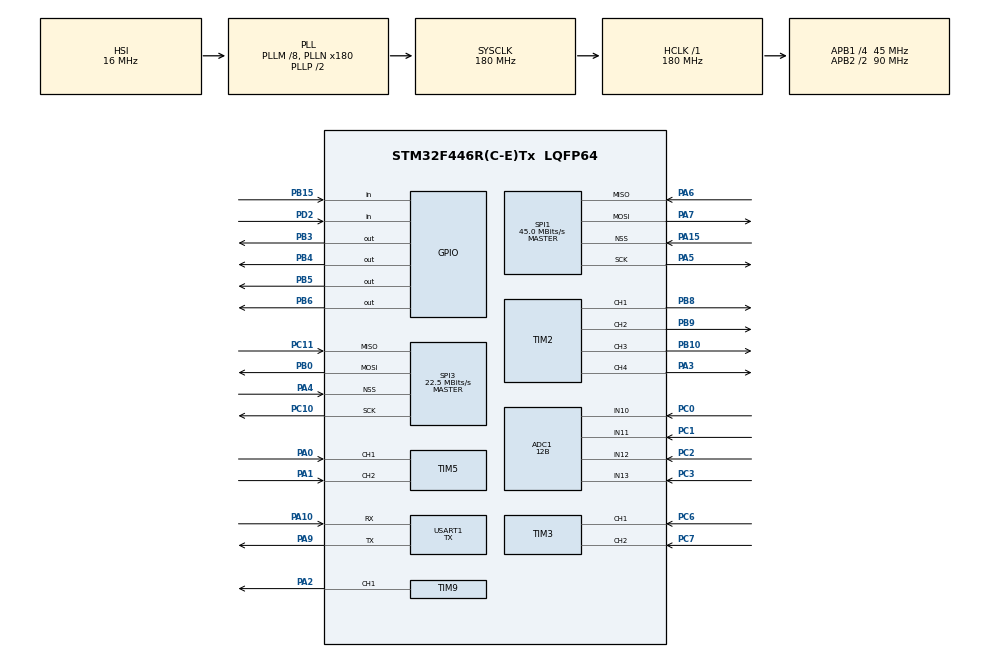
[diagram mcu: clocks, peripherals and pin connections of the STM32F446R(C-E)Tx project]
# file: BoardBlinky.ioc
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ADC1.Channel-0\#ChannelRegularConversion=ADC_CHANNEL_10
ADC1.Channel-1\#ChannelRegularConversion=ADC_CHANNEL_11
ADC1.Channel-2\#ChannelRegularConversion=ADC_CHANNEL_12
ADC1.Channel-3\#ChannelRegularConversion=ADC_CHANNEL_13
ADC1.ClockPrescaler=ADC_CLOCK_SYNC_PCLK_DIV4
ADC1.ContinuousConvMode=ENABLE
ADC1.DMAContinuousRequests=ENABLE
ADC1.DataAlign=ADC_DATAALIGN_RIGHT
ADC1.DiscontinuousConvMode=DISABLE
ADC1.EOCSelection=ADC_EOC_SINGLE_CONV
ADC1.EnableAnalogWatchDog=false
ADC1.ExternalTrigConv=ADC_SOFTWARE_START
ADC1.ExternalTrigConvEdge=ADC_EXTERNALTRIGCONVEDGE_NONE
ADC1.InjNumberOfConversion=0
ADC1.NbrOfConversion=4
ADC1.NbrOfConversionFlag=1
ADC1.Rank-0\#ChannelRegularConversion=1
ADC1.Rank-1\#ChannelRegularConversion=2
ADC1.Rank-2\#ChannelRegularConversion=3
ADC1.Rank-3\#ChannelRegularConversion=4
ADC1.Resolution=ADC_RESOLUTION_12B
ADC1.SamplingTime-0\#ChannelRegularConversion=ADC_SAMPLETIME_3CYCLES
ADC1.SamplingTime-1\#ChannelRegularConversion=ADC_SAMPLETIME_3CYCLES
ADC1.SamplingTime-2\#ChannelRegularConversion=ADC_SAMPLETIME_3CYCLES
ADC1.SamplingTime-3\#ChannelRegularConversion=ADC_SAMPLETIME_3CYCLES
ADC1.ScanConvMode=ENABLE
ADC1.master=1
Dma.ADC1.0.Direction=DMA_PERIPH_TO_MEMORY
Dma.ADC1.0.FIFOMode=DMA_FIFOMODE_DISABLE
Dma.ADC1.0.Instance=DMA2_Stream0
Dma.ADC1.0.MemDataAlignment=DMA_MDATAALIGN_HALFWORD
Dma.ADC1.0.MemInc=DMA_MINC_ENABLE
Dma.ADC1.0.Mode=DMA_CIRCULAR
Dma.ADC1.0.PeriphDataAlignment=DMA_PDATAALIGN_HALFWORD
Dma.ADC1.0.PeriphInc=DMA_PINC_DISABLE
Dma.ADC1.0.Priority=DMA_PRIORITY_HIGH
Dma.Request0=ADC1
Mcu.Family=STM32F4
Mcu.Name=STM32F446R(C-E)Tx
Mcu.Package=LQFP64
NVIC.DMA2_Stream0_IRQn=true\:0\:0\:false\:false\:true\:false
NVIC.PriorityGroup=NVIC_PRIORITYGROUP_4
NVIC.TIM6_DAC_IRQn=true\:0\:0\:false\:false\:true\:true
PA0-WKUP.Signal=S_TIM5_CH1
PA1.Signal=S_TIM5_CH2
PA10.GPIO_Speed=GPIO_SPEED_FREQ_HIGH
PA10.Mode=Asynchronous
PA10.Signal=USART1_RX
PA15.Mode=NSS_Signal_Hard_Input
PA15.Signal=SPI1_NSS
PA2.Signal=S_TIM9_CH1
PA3.Signal=S_TIM2_CH4
PA4.Mode=NSS_Signal_Hard_Input
PA4.Signal=SPI3_NSS
PA5.Mode=Full_Duplex_Master
PA5.Signal=SPI1_SCK
PA6.Mode=Full_Duplex_Master
PA6.Signal=SPI1_MISO
PA7.Mode=Full_Duplex_Master
PA7.Signal=SPI1_MOSI
PA9.GPIO_Speed=GPIO_SPEED_FREQ_HIGH
PA9.Mode=Asynchronous
PA9.Signal=USART1_TX
PB0.Mode=Full_Duplex_Master
PB0.Signal=SPI3_MOSI
PB10.Signal=S_TIM2_CH3
PB15.Signal=GPIO_Input
PB3.Signal=GPIO_Output
PB4.Signal=GPIO_Output
PB5.Signal=GPIO_Output
PB6.Signal=GPIO_Output
PB8.Signal=S_TIM2_CH1_ETR
PB9.Signal=S_TIM2_CH2
PC0.Signal=ADCx_IN10
PC1.Signal=ADCx_IN11
PC10.Mode=Full_Duplex_Master
PC10.Signal=SPI3_SCK
PC11.Mode=Full_Duplex_Master
PC11.Signal=SPI3_MISO
PC2.Signal=ADCx_IN12
PC3.Signal=ADCx_IN13
PC6.Signal=S_TIM3_CH1
PC7.Signal=S_TIM3_CH2
PD2.Signal=GPIO_Input
ProjectManager.HeapSize=0x200
ProjectManager.StackSize=0x400
ProjectManager.TargetToolchain=SW4STM32
RCC.AHBFreq_Value=180000000
RCC.APB1CLKDivider=RCC_HCLK_DIV4
RCC.APB1Freq_Value=45000000
RCC.APB1TimFreq_Value=90000000
RCC.APB2CLKDivider=RCC_HCLK_DIV2
RCC.APB2Freq_Value=90000000
RCC.APB2TimFreq_Value=180000000
RCC.CortexFreq_Value=180000000
RCC.HCLKFreq_Value=180000000
RCC.PLLM=8
RCC.PLLN=180
RCC.SYSCLKFreq_VALUE=180000000
RCC.SYSCLKSource=RCC_SYSCLKSOURCE_PLLCLK
RCC.USBFreq_Value=180000000
RCC.VCOOutputFreq_Value=360000000
SH.ADCx_IN10.0=ADC1_IN10,IN10
SH.ADCx_IN11.0=ADC1_IN11,IN11
SH.ADCx_IN12.0=ADC1_IN12,IN12
SH.ADCx_IN13.0=ADC1_IN13,IN13
SH.S_TIM2_CH1_ETR.0=TIM2_CH1,PWM Generation1 CH1
SH.S_TIM2_CH2.0=TIM2_CH2,PWM Generation2 CH2
SH.S_TIM2_CH3.0=TIM2_CH3,PWM Generation3 CH3
SH.S_TIM2_CH4.0=TIM2_CH4,PWM Generation4 CH4
SH.S_TIM3_CH1.0=TIM3_CH1,Encoder_Interface
SH.S_TIM3_CH2.0=TIM3_CH2,Encoder_Interface
SH.S_TIM5_CH1.0=TIM5_CH1,Encoder_Interface
SH.S_TIM5_CH2.0=TIM5_CH2,Encoder_Interface
SH.S_TIM9_CH1.0=TIM9_CH1,PWM Generation1 CH1
SPI1.CalculateBaudRate=45.0 MBits/s
SPI1.Direction=SPI_DIRECTION_2LINES
SPI1.Mode=SPI_MODE_MASTER
SPI1.VirtualNSS=VM_NSSHARD
SPI1.VirtualType=VM_MASTER
SPI3.BaudRatePrescaler=SPI_BAUDRATEPRESCALER_2
SPI3.CalculateBaudRate=22.5 MBits/s
SPI3.Direction=SPI_DIRECTION_2LINES
SPI3.Mode=SPI_MODE_MASTER
SPI3.VirtualNSS=VM_NSSHARD
SPI3.VirtualType=VM_MASTER
TIM2.Channel-PWM\ Generation1\ CH1=TIM_CHANNEL_1
TIM2.Channel-PWM\ Generation2\ CH2=TIM_CHANNEL_2
TIM2.Channel-PWM\ Generation3\ CH3=TIM_CHANNEL_3
TIM2.Channel-PWM\ Generation4\ CH4=TIM_CHANNEL_4
TIM5.Channel-PWM\ Generation4\ No\ Output=TIM_CHANNEL_4
TIM6.Period=500
TIM6.Prescaler=8000
TIM6.TIM_MasterOutputTrigger=TIM_TRGO_RESET
TIM9.Channel-PWM\ Generation1\ CH1=TIM_CHANNEL_1
USART1.Mode=MODE_TX
USART1.VirtualMode=VM_ASYNC
VP_TIM5_VS_no_output4.Mode=PWM Generation4 No Output
VP_TIM6_VS_ClockSourceINT.Mode=Enable_Timer
board=BoardBlinky

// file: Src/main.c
/**
  ******************************************************************************
  * File Name          : main.c
  * Description        : Main program body
  ******************************************************************************
  ** This notice applies to any and all portions of this file
  * that are not between comment pairs USER CODE BEGIN and
  * USER CODE END. Other portions of this file, whether
  * inserted by the user or by software development tools
  * are owned by their respective copyright owners.
  *
  * COPYRIGHT(c) 2018 STMicroelectronics
  *
  * Redistribution and use in source and binary forms, with or without modification,
  * are permitted provided that the following conditions are met:
  *   1. Redistributions of source code must retain the above copyright notice,
  *      this list of conditions and the following disclaimer.
  *   2. Redistributions in binary form must reproduce the above copyright notice,
  *      this list of conditions and the following disclaimer in the documentation
  *      and/or other materials provided with the distribution.
  *   3. Neither the name of STMicroelectronics nor the names of its contributors
  *      may be used to endorse or promote products derived from this software
  *      without specific prior written permission.
  *
  * THIS SOFTWARE IS PROVIDED BY THE COPYRIGHT HOLDERS AND CONTRIBUTORS "AS IS"
  * AND ANY EXPRESS OR IMPLIED WARRANTIES, INCLUDING, BUT NOT LIMITED TO, THE
  * IMPLIED WARRANTIES OF MERCHANTABILITY AND FITNESS FOR A PARTICULAR PURPOSE ARE
  * DISCLAIMED. IN NO EVENT SHALL THE COPYRIGHT HOLDER OR CONTRIBUTORS BE LIABLE
  * FOR ANY DIRECT, INDIRECT, INCIDENTAL, SPECIAL, EXEMPLARY, OR CONSEQUENTIAL
  * DAMAGES (INCLUDING, BUT NOT LIMITED TO, PROCUREMENT OF SUBSTITUTE GOODS OR
  * SERVICES; LOSS OF USE, DATA, OR PROFITS; OR BUSINESS INTERRUPTION) HOWEVER
  * CAUSED AND ON ANY THEORY OF LIABILITY, WHETHER IN CONTRACT, STRICT LIABILITY,
  * OR TORT (INCLUDING NEGLIGENCE OR OTHERWISE) ARISING IN ANY WAY OUT OF THE USE
  * OF THIS SOFTWARE, EVEN IF ADVISED OF THE POSSIBILITY OF SUCH DAMAGE.
  *
  ******************************************************************************
  */

#include "main.h"
#include "stm32f4xx_hal.h"

ADC_HandleTypeDef hadc1;
DMA_HandleTypeDef hdma_adc1;

SPI_HandleTypeDef hspi1;
SPI_HandleTypeDef hspi3;

TIM_HandleTypeDef htim2;
TIM_HandleTypeDef htim3;
TIM_HandleTypeDef htim5;
TIM_HandleTypeDef htim6;
TIM_HandleTypeDef htim9;

UART_HandleTypeDef huart1;

/* USER CODE BEGIN PV */
/* Private variables ---------------------------------------------------------*/
ADC_ChannelConfTypeDef sConfig;
/* USER CODE END PV */

void SystemClock_Config(void);
static void MX_GPIO_Init(void);
static void MX_DMA_Init(void);
static void MX_ADC1_Init(void);
static void MX_SPI1_Init(void);
static void MX_SPI3_Init(void);
static void MX_TIM2_Init(void);
static void MX_TIM3_Init(void);
static void MX_TIM5_Init(void);
static void MX_TIM9_Init(void);
static void MX_USART1_UART_Init(void);
static void MX_TIM6_Init(void);

void HAL_TIM_MspPostInit(TIM_HandleTypeDef *htim);

/* USER CODE BEGIN PFP */
void setPWM(TIM_HandleTypeDef timer, uint32_t channel, uint16_t period, uint16_t pulse);
/* Private function prototypes -----------------------------------------------*/

/* USER CODE END PFP */

/* USER CODE BEGIN 0 */
uint16_t adcValue[4];
/* USER CODE END 0 */

int main(void)
{

  /* MCU Configuration----------------------------------------------------------*/

  /* Reset of all peripherals, Initializes the Flash interface and the Systick. */
  HAL_Init();

  /* Configure the system clock */
  SystemClock_Config();

  /* Initialize all configured peripherals */
  MX_GPIO_Init();
  MX_DMA_Init();
  MX_ADC1_Init();
  MX_SPI1_Init();
  MX_SPI3_Init();
  MX_TIM2_Init();
  MX_TIM3_Init();
  MX_TIM5_Init();
  MX_TIM9_Init();
  MX_USART1_UART_Init();
  MX_TIM6_Init();

  /* USER CODE BEGIN 2 */
  //setPWM(htim9,TIM_CHANNEL_1,18000-1,18000/2-1); //Start IR emmision at 1khz 50%
  setPWM(htim9,TIM_CHANNEL_1,255,255); //Start IR emmision at 1khz 50%
  HAL_ADC_Start(&hadc1);

  HAL_ADC_Start_DMA(&hadc1, (uint32_t*)adcValue,hadc1.Init.NbrOfConversion);

  //char buf[] = "HELLO\n\r";
  //HAL_UART_Transmit(&huart1,buf, sizeof(buf),0xFFFF);

  /* USER CODE END 2 */

  /* Infinite loop */
  /* USER CODE BEGIN WHILE */
  while (1)
  {
	  HAL_GPIO_TogglePin(GPIOB,GPIO_PIN_3);
	  HAL_Delay(500);

  /* USER CODE END WHILE */

  }

}

/** System Clock Configuration
*/
void SystemClock_Config(void)
{

  RCC_OscInitTypeDef RCC_OscInitStruct;
  RCC_ClkInitTypeDef RCC_ClkInitStruct;

    /**Configure the main internal regulator output voltage
    */
  __HAL_RCC_PWR_CLK_ENABLE();

  __HAL_PWR_VOLTAGESCALING_CONFIG(PWR_REGULATOR_VOLTAGE_SCALE1);

    /**Initializes the CPU, AHB and APB busses clocks
    */
  RCC_OscInitStruct.OscillatorType = RCC_OSCILLATORTYPE_HSI;
  RCC_OscInitStruct.HSIState = RCC_HSI_ON;
  RCC_OscInitStruct.HSICalibrationValue = 16;
  RCC_OscInitStruct.PLL.PLLState = RCC_PLL_ON;
  RCC_OscInitStruct.PLL.PLLSource = RCC_PLLSOURCE_HSI;
  RCC_OscInitStruct.PLL.PLLM = 8;
  RCC_OscInitStruct.PLL.PLLN = 180;
  RCC_OscInitStruct.PLL.PLLP = RCC_PLLP_DIV2;
  RCC_OscInitStruct.PLL.PLLQ = 2;
  RCC_OscInitStruct.PLL.PLLR = 2;
  if (HAL_RCC_OscConfig(&RCC_OscInitStruct) != HAL_OK)
  {
    _Error_Handler(__FILE__, __LINE__);
  }

    /**Activate the Over-Drive mode
    */
  if (HAL_PWREx_EnableOverDrive() != HAL_OK)
  {
    _Error_Handler(__FILE__, __LINE__);
  }

    /**Initializes the CPU, AHB and APB busses clocks
    */
  RCC_ClkInitStruct.ClockType = RCC_CLOCKTYPE_HCLK|RCC_CLOCKTYPE_SYSCLK
                              |RCC_CLOCKTYPE_PCLK1|RCC_CLOCKTYPE_PCLK2;
  RCC_ClkInitStruct.SYSCLKSource = RCC_SYSCLKSOURCE_PLLCLK;
  RCC_ClkInitStruct.AHBCLKDivider = RCC_SYSCLK_DIV1;
  RCC_ClkInitStruct.APB1CLKDivider = RCC_HCLK_DIV4;
  RCC_ClkInitStruct.APB2CLKDivider = RCC_HCLK_DIV2;

  if (HAL_RCC_ClockConfig(&RCC_ClkInitStruct, FLASH_LATENCY_5) != HAL_OK)
  {
    _Error_Handler(__FILE__, __LINE__);
  }

    /**Configure the Systick interrupt time
    */
  HAL_SYSTICK_Config(HAL_RCC_GetHCLKFreq()/1000);

    /**Configure the Systick
    */
  HAL_SYSTICK_CLKSourceConfig(SYSTICK_CLKSOURCE_HCLK);

  /* SysTick_IRQn interrupt configuration */
  HAL_NVIC_SetPriority(SysTick_IRQn, 0, 0);
}

/* ADC1 init function */
static void MX_ADC1_Init(void)
{

  ADC_ChannelConfTypeDef sConfig;

    /**Configure the global features of the ADC (Clock, Resolution, Data Alignment and number of conversion)
    */
  hadc1.Instance = ADC1;
  hadc1.Init.ClockPrescaler = ADC_CLOCK_SYNC_PCLK_DIV4;
  hadc1.Init.Resolution = ADC_RESOLUTION_12B;
  hadc1.Init.ScanConvMode = ENABLE;
  hadc1.Init.ContinuousConvMode = ENABLE;
  hadc1.Init.DiscontinuousConvMode = DISABLE;
  hadc1.Init.ExternalTrigConvEdge = ADC_EXTERNALTRIGCONVEDGE_NONE;
  hadc1.Init.ExternalTrigConv = ADC_SOFTWARE_START;
  hadc1.Init.DataAlign = ADC_DATAALIGN_RIGHT;
  hadc1.Init.NbrOfConversion = 4;
  hadc1.Init.DMAContinuousRequests = ENABLE;
  hadc1.Init.EOCSelection = ADC_EOC_SINGLE_CONV;
  if (HAL_ADC_Init(&hadc1) != HAL_OK)
  {
    _Error_Handler(__FILE__, __LINE__);
  }

    /**Configure for the selected ADC regular channel its corresponding rank in the sequencer and its sample time.
    */
  sConfig.Channel = ADC_CHANNEL_10;
  sConfig.Rank = 1;
  sConfig.SamplingTime = ADC_SAMPLETIME_3CYCLES;
  if (HAL_ADC_ConfigChannel(&hadc1, &sConfig) != HAL_OK)
  {
    _Error_Handler(__FILE__, __LINE__);
  }

    /**Configure for the selected ADC regular channel its corresponding rank in the sequencer and its sample time.
    */
  sConfig.Channel = ADC_CHANNEL_11;
  sConfig.Rank = 2;
  if (HAL_ADC_ConfigChannel(&hadc1, &sConfig) != HAL_OK)
  {
    _Error_Handler(__FILE__, __LINE__);
  }

    /**Configure for the selected ADC regular channel its corresponding rank in the sequencer and its sample time.
    */
  sConfig.Channel = ADC_CHANNEL_12;
  sConfig.Rank = 3;
  if (HAL_ADC_ConfigChannel(&hadc1, &sConfig) != HAL_OK)
  {
    _Error_Handler(__FILE__, __LINE__);
  }

    /**Configure for the selected ADC regular channel its corresponding rank in the sequencer and its sample time.
    */
  sConfig.Channel = ADC_CHANNEL_13;
  sConfig.Rank = 4;
  if (HAL_ADC_ConfigChannel(&hadc1, &sConfig) != HAL_OK)
  {
    _Error_Handler(__FILE__, __LINE__);
  }

}

/* SPI1 init function */
static void MX_SPI1_Init(void)
{

  /* SPI1 parameter configuration*/
  hspi1.Instance = SPI1;
  hspi1.Init.Mode = SPI_MODE_MASTER;
  hspi1.Init.Direction = SPI_DIRECTION_2LINES;
  hspi1.Init.DataSize = SPI_DATASIZE_8BIT;
  hspi1.Init.CLKPolarity = SPI_POLARITY_LOW;
  hspi1.Init.CLKPhase = SPI_PHASE_1EDGE;
  hspi1.Init.NSS = SPI_NSS_HARD_INPUT;
  hspi1.Init.BaudRatePrescaler = SPI_BAUDRATEPRESCALER_2;
  hspi1.Init.FirstBit = SPI_FIRSTBIT_MSB;
  hspi1.Init.TIMode = SPI_TIMODE_DISABLE;
  hspi1.Init.CRCCalculation = SPI_CRCCALCULATION_DISABLE;
  hspi1.Init.CRCPolynomial = 10;
  if (HAL_SPI_Init(&hspi1) != HAL_OK)
  {
    _Error_Handler(__FILE__, __LINE__);
  }

}

/* SPI3 init function */
static void MX_SPI3_Init(void)
{

  /* SPI3 parameter configuration*/
  hspi3.Instance = SPI3;
  hspi3.Init.Mode = SPI_MODE_MASTER;
  hspi3.Init.Direction = SPI_DIRECTION_2LINES;
  hspi3.Init.DataSize = SPI_DATASIZE_8BIT;
  hspi3.Init.CLKPolarity = SPI_POLARITY_LOW;
  hspi3.Init.CLKPhase = SPI_PHASE_1EDGE;
  hspi3.Init.NSS = SPI_NSS_HARD_INPUT;
  hspi3.Init.BaudRatePrescaler = SPI_BAUDRATEPRESCALER_2;
  hspi3.Init.FirstBit = SPI_FIRSTBIT_MSB;
  hspi3.Init.TIMode = SPI_TIMODE_DISABLE;
  hspi3.Init.CRCCalculation = SPI_CRCCALCULATION_DISABLE;
  hspi3.Init.CRCPolynomial = 10;
  if (HAL_SPI_Init(&hspi3) != HAL_OK)
  {
    _Error_Handler(__FILE__, __LINE__);
  }

}

/* TIM2 init function */
static void MX_TIM2_Init(void)
{

  TIM_MasterConfigTypeDef sMasterConfig;
  TIM_OC_InitTypeDef sConfigOC;

  htim2.Instance = TIM2;
  htim2.Init.Prescaler = 0;
  htim2.Init.CounterMode = TIM_COUNTERMODE_UP;
  htim2.Init.Period = 0;
  htim2.Init.ClockDivision = TIM_CLOCKDIVISION_DIV1;
  if (HAL_TIM_PWM_Init(&htim2) != HAL_OK)
  {
    _Error_Handler(__FILE__, __LINE__);
  }

  sMasterConfig.MasterOutputTrigger = TIM_TRGO_RESET;
  sMasterConfig.MasterSlaveMode = TIM_MASTERSLAVEMODE_DISABLE;
  if (HAL_TIMEx_MasterConfigSynchronization(&htim2, &sMasterConfig) != HAL_OK)
  {
    _Error_Handler(__FILE__, __LINE__);
  }

  sConfigOC.OCMode = TIM_OCMODE_PWM1;
  sConfigOC.Pulse = 0;
  sConfigOC.OCPolarity = TIM_OCPOLARITY_HIGH;
  sConfigOC.OCFastMode = TIM_OCFAST_DISABLE;
  if (HAL_TIM_PWM_ConfigChannel(&htim2, &sConfigOC, TIM_CHANNEL_1) != HAL_OK)
  {
    _Error_Handler(__FILE__, __LINE__);
  }

  if (HAL_TIM_PWM_ConfigChannel(&htim2, &sConfigOC, TIM_CHANNEL_2) != HAL_OK)
  {
    _Error_Handler(__FILE__, __LINE__);
  }

  if (HAL_TIM_PWM_ConfigChannel(&htim2, &sConfigOC, TIM_CHANNEL_3) != HAL_OK)
  {
    _Error_Handler(__FILE__, __LINE__);
  }

  if (HAL_TIM_PWM_ConfigChannel(&htim2, &sConfigOC, TIM_CHANNEL_4) != HAL_OK)
  {
    _Error_Handler(__FILE__, __LINE__);
  }

  HAL_TIM_MspPostInit(&htim2);

}

/* TIM3 init function */
static void MX_TIM3_Init(void)
{

  TIM_Encoder_InitTypeDef sConfig;
  TIM_MasterConfigTypeDef sMasterConfig;

  htim3.Instance = TIM3;
  htim3.Init.Prescaler = 0;
  htim3.Init.CounterMode = TIM_COUNTERMODE_UP;
  htim3.Init.Period = 0;
  htim3.Init.ClockDivision = TIM_CLOCKDIVISION_DIV1;
  sConfig.EncoderMode = TIM_ENCODERMODE_TI1;
  sConfig.IC1Polarity = TIM_ICPOLARITY_RISING;
  sConfig.IC1Selection = TIM_ICSELECTION_DIRECTTI;
  sConfig.IC1Prescaler = TIM_ICPSC_DIV1;
  sConfig.IC1Filter = 0;
  sConfig.IC2Polarity = TIM_ICPOLARITY_RISING;
  sConfig.IC2Selection = TIM_ICSELECTION_DIRECTTI;
  sConfig.IC2Prescaler = TIM_ICPSC_DIV1;
  sConfig.IC2Filter = 0;
  if (HAL_TIM_Encoder_Init(&htim3, &sConfig) != HAL_OK)
  {
    _Error_Handler(__FILE__, __LINE__);
  }

  sMasterConfig.MasterOutputTrigger = TIM_TRGO_RESET;
  sMasterConfig.MasterSlaveMode = TIM_MASTERSLAVEMODE_DISABLE;
  if (HAL_TIMEx_MasterConfigSynchronization(&htim3, &sMasterConfig) != HAL_OK)
  {
    _Error_Handler(__FILE__, __LINE__);
  }

}

/* TIM5 init function */
static void MX_TIM5_Init(void)
{

  TIM_Encoder_InitTypeDef sConfig;
  TIM_MasterConfigTypeDef sMasterConfig;
  TIM_OC_InitTypeDef sConfigOC;

  htim5.Instance = TIM5;
  htim5.Init.Prescaler = 0;
  htim5.Init.CounterMode = TIM_COUNTERMODE_UP;
  htim5.Init.Period = 0;
  htim5.Init.ClockDivision = TIM_CLOCKDIVISION_DIV1;
  if (HAL_TIM_PWM_Init(&htim5) != HAL_OK)
  {
    _Error_Handler(__FILE__, __LINE__);
  }

  sConfig.EncoderMode = TIM_ENCODERMODE_TI1;
  sConfig.IC1Polarity = TIM_ICPOLARITY_RISING;
  sConfig.IC1Selection = TIM_ICSELECTION_DIRECTTI;
  sConfig.IC1Prescaler = TIM_ICPSC_DIV1;
  sConfig.IC1Filter = 0;
  sConfig.IC2Polarity = TIM_ICPOLARITY_RISING;
  sConfig.IC2Selection = TIM_ICSELECTION_DIRECTTI;
  sConfig.IC2Prescaler = TIM_ICPSC_DIV1;
  sConfig.IC2Filter = 0;
  if (HAL_TIM_Encoder_Init(&htim5, &sConfig) != HAL_OK)
  {
    _Error_Handler(__FILE__, __LINE__);
  }

  sMasterConfig.MasterOutputTrigger = TIM_TRGO_RESET;
  sMasterConfig.MasterSlaveMode = TIM_MASTERSLAVEMODE_DISABLE;
  if (HAL_TIMEx_MasterConfigSynchronization(&htim5, &sMasterConfig) != HAL_OK)
  {
    _Error_Handler(__FILE__, __LINE__);
  }

  sConfigOC.OCMode = TIM_OCMODE_PWM1;
  sConfigOC.Pulse = 0;
  sConfigOC.OCPolarity = TIM_OCPOLARITY_HIGH;
  sConfigOC.OCFastMode = TIM_OCFAST_DISABLE;
  if (HAL_TIM_PWM_ConfigChannel(&htim5, &sConfigOC, TIM_CHANNEL_4) != HAL_OK)
  {
    _Error_Handler(__FILE__, __LINE__);
  }

}

/* TIM6 init function */
static void MX_TIM6_Init(void)
{

  TIM_MasterConfigTypeDef sMasterConfig;

  htim6.Instance = TIM6;
  htim6.Init.Prescaler = 8000;
  htim6.Init.CounterMode = TIM_COUNTERMODE_UP;
  htim6.Init.Period = 500;
  if (HAL_TIM_Base_Init(&htim6) != HAL_OK)
  {
    _Error_Handler(__FILE__, __LINE__);
  }

  sMasterConfig.MasterOutputTrigger = TIM_TRGO_RESET;
  sMasterConfig.MasterSlaveMode = TIM_MASTERSLAVEMODE_DISABLE;
  if (HAL_TIMEx_MasterConfigSynchronization(&htim6, &sMasterConfig) != HAL_OK)
  {
    _Error_Handler(__FILE__, __LINE__);
  }

}

/* TIM9 init function */
static void MX_TIM9_Init(void)
{

  TIM_OC_InitTypeDef sConfigOC;

  htim9.Instance = TIM9;
  htim9.Init.Prescaler = 0;
  htim9.Init.CounterMode = TIM_COUNTERMODE_UP;
  htim9.Init.Period = 0;
  htim9.Init.ClockDivision = TIM_CLOCKDIVISION_DIV1;
  if (HAL_TIM_PWM_Init(&htim9) != HAL_OK)
  {
    _Error_Handler(__FILE__, __LINE__);
  }

  sConfigOC.OCMode = TIM_OCMODE_PWM1;
  sConfigOC.Pulse = 0;
  sConfigOC.OCPolarity = TIM_OCPOLARITY_HIGH;
  sConfigOC.OCFastMode = TIM_OCFAST_DISABLE;
  if (HAL_TIM_PWM_ConfigChannel(&htim9, &sConfigOC, TIM_CHANNEL_1) != HAL_OK)
  {
    _Error_Handler(__FILE__, __LINE__);
  }

  HAL_TIM_MspPostInit(&htim9);

}

/* USART1 init function */
static void MX_USART1_UART_Init(void)
{

  huart1.Instance = USART1;
  huart1.Init.BaudRate = 115200;
  huart1.Init.WordLength = UART_WORDLENGTH_8B;
  huart1.Init.StopBits = UART_STOPBITS_1;
  huart1.Init.Parity = UART_PARITY_NONE;
  huart1.Init.Mode = UART_MODE_TX;
  huart1.Init.HwFlowCtl = UART_HWCONTROL_NONE;
  huart1.Init.OverSampling = UART_OVERSAMPLING_16;
  if (HAL_UART_Init(&huart1) != HAL_OK)
  {
    _Error_Handler(__FILE__, __LINE__);
  }

}

static void MX_DMA_Init(void)
{
  /* DMA controller clock enable */
  __HAL_RCC_DMA2_CLK_ENABLE();

  /* DMA interrupt init */
  /* DMA2_Stream0_IRQn interrupt configuration */
  HAL_NVIC_SetPriority(DMA2_Stream0_IRQn, 0, 0);
  HAL_NVIC_EnableIRQ(DMA2_Stream0_IRQn);

}

/** Configure pins as
        * Analog
        * Input
        * Output
        * EVENT_OUT
        * EXTI
*/
static void MX_GPIO_Init(void)
{

  GPIO_InitTypeDef GPIO_InitStruct;

  /* GPIO Ports Clock Enable */
  __HAL_RCC_GPIOC_CLK_ENABLE();
  __HAL_RCC_GPIOA_CLK_ENABLE();
  __HAL_RCC_GPIOB_CLK_ENABLE();
  __HAL_RCC_GPIOD_CLK_ENABLE();

  /*Configure GPIO pin Output Level */
  HAL_GPIO_WritePin(GPIOB, GPIO_PIN_3|GPIO_PIN_4|GPIO_PIN_5|GPIO_PIN_6, GPIO_PIN_RESET);

  /*Configure GPIO pin : PB15 */
  GPIO_InitStruct.Pin = GPIO_PIN_15;
  GPIO_InitStruct.Mode = GPIO_MODE_INPUT;
  GPIO_InitStruct.Pull = GPIO_NOPULL;
  HAL_GPIO_Init(GPIOB, &GPIO_InitStruct);

  /*Configure GPIO pin : PD2 */
  GPIO_InitStruct.Pin = GPIO_PIN_2;
  GPIO_InitStruct.Mode = GPIO_MODE_INPUT;
  GPIO_InitStruct.Pull = GPIO_NOPULL;
  HAL_GPIO_Init(GPIOD, &GPIO_InitStruct);

  /*Configure GPIO pins : PB3 PB4 PB5 PB6 */
  GPIO_InitStruct.Pin = GPIO_PIN_3|GPIO_PIN_4|GPIO_PIN_5|GPIO_PIN_6;
  GPIO_InitStruct.Mode = GPIO_MODE_OUTPUT_PP;
  GPIO_InitStruct.Pull = GPIO_NOPULL;
  GPIO_InitStruct.Speed = GPIO_SPEED_FREQ_LOW;
  HAL_GPIO_Init(GPIOB, &GPIO_InitStruct);

}

/* USER CODE BEGIN 4 */
void setPWM(TIM_HandleTypeDef timer, uint32_t channel, uint16_t period, uint16_t pulse)
{
  HAL_TIM_PWM_Stop(&timer, channel);
// stop generation of pwm
  TIM_OC_InitTypeDef sConfigOC;
  timer.Init.Period = period;
// set the period duration
  HAL_TIM_PWM_Init(&timer);
// reinititialise with new period value
  sConfigOC.OCMode = TIM_OCMODE_PWM1;
  sConfigOC.Pulse = pulse;
// set the pulse duration
  sConfigOC.OCPolarity = TIM_OCPOLARITY_HIGH;
  sConfigOC.OCFastMode = TIM_OCFAST_DISABLE;
  HAL_TIM_PWM_ConfigChannel(&timer, &sConfigOC, channel);
  HAL_TIM_PWM_Start(&timer, channel);
// start pwm generation
}
/* USER CODE END 4 */

void _Error_Handler(char * file, int line)
{
  while(1)
  {
  }
}

/************************ (C) COPYRIGHT STMicroelectronics *****END OF FILE****/
